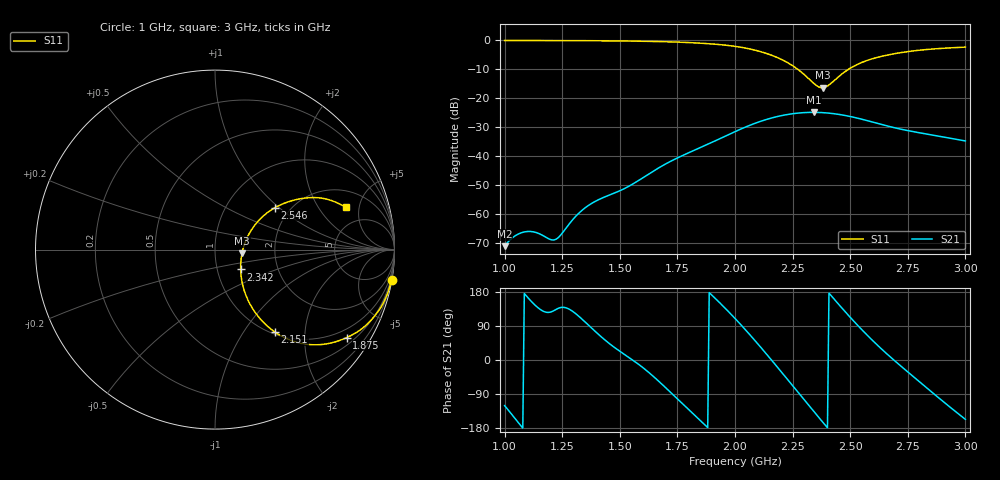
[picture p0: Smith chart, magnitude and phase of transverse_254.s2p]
! TOUCHSTONE file generated by CST MICROWAVE STUDIO
! Date and time: Tue Mar 11 13:58:03 2025
! Project name: transverse.cst
! Parameters = {Fracture=5; B=12.5; D=160; F=5; Feed=2.85625; L=100; M=10; R=0.384908; S=1; Theta=270; length=57.125; wave=114.25}
! Header version: 2024
! Port assignment regex: !\s*Touchstone port\s*([0-9]+)\s*=\s*(CST MWS port|CST DES external port|CST DES block port)\s*(.+)\s* \(\"(.*)\"\)(\s*mode\s*([0-9]+))?.*
! Touchstone port assignment:
! Touchstone port 1 = CST MWS port 1 ("")
! Touchstone port 2 = CST MWS port 2 ("")
# GHz S MA R 50
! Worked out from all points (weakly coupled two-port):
!   305 points, 1 GHz to 3 GHz, reference 50 ohm
!   highest |S21| = -24.88 dB at 2.342 GHz (marker M1); lowest = -71.2 dB at 1 GHz (marker M2)
!   lowest |S11| = -16.4 dB at 2.382 GHz (marker M3), VSWR 1.36, Z = 67.6 - j2.97 ohm
!   |S11| at or under -10 dB: 2.273 GHz to 2.493 GHz (220 MHz wide, 9.23 % of centre)
!   S12 and S22 are empty: the file has one direction only
!   S11 on the Smith chart (normalised r, x): 1 GHz: 0, -12; 1.875 GHz: 0.71, -3.15; 2.151 GHz: 1.04, -1.40; 2.342 GHz: 1.30, -0.30; 2.546 GHz: 1.68, +0.94; 3 GHz: 3.20, +3.65
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1  0.9979 -9.7  0.0002765 -120.3  0 0.0  0 0.0
1.04605  0.9972 -10.4  0.0004187 -155.1  0 0.0  0 0.0
1.09211  0.9963 -11.0  0.0004928 170.8  0 0.0  0 0.0
1.13816  0.9957 -11.7  0.0004743 141.4  0 0.0  0 0.0
1.20395  0.9947 -12.7  0.0003556 127.4  0 0.0  0 0.0
1.22368  0.9943 -13.1  0.0003656 133.5  0 0.0  0 0.0
1.33553  0.99 -15.2  0.001148 108.1  0 0.0  0 0.0
1.40132  0.9867 -16.5  0.00171 70.9  0 0.0  0 0.0
1.53947  0.9751 -20.1  0.003007 6.8  0 0.0  0 0.0
1.67105  0.9547 -24.3  0.006323 -57.2  0 0.0  0 0.0
1.875  0.8824 -33.8  0.01555 -174.5  0 0.0  0 0.0
2  0.789 -42.2  0.02646 109.7  0 0.0  0 0.0
2.15132  0.5679 -54.0  0.0447 5.1  0 0.0  0 0.0
2.25  0.3656 -57.4  0.05397 -67.6  0 0.0  0 0.0
2.33553  0.1906 -41.2  0.05699 -130.9  0 0.0  0 0.0
2.34211  0.1806 -37.7  0.05699 -135.8  0 0.0  0 0.0
2.38158  0.1519 -8.1  0.05631 -164.5  0 0.0  0 0.0
2.46711  0.2684 32.2  0.05124 135.0  0 0.0  0 0.0
2.54605  0.4088 34.9  0.04382 82.7  0 0.0  0 0.0
2.67105  0.568 30.2  0.03238 9.7  0 0.0  0 0.0
2.82895  0.6943 23.5  0.02414 -71.9  0 0.0  0 0.0
3  0.7657 17.9  0.01826 -156.5  0 0.0  0 0.0
